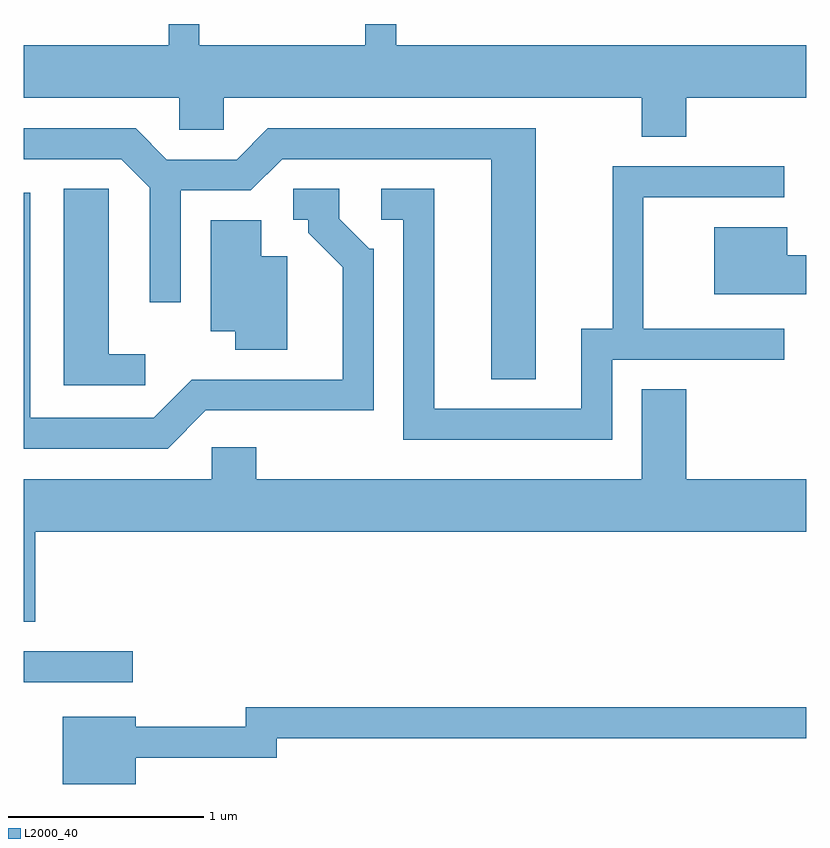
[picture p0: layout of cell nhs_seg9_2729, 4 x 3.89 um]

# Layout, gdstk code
import gdstk
lib = gdstk.Library(unit=1e-6, precision=1e-09)
def R(c, l, rs):  # rectangles x0, y0, x1, y1
    for r in rs: c.add(gdstk.rectangle(r[:2], r[2:], *l))
def P(c, l, *ps):  # polygons
    for p in ps: c.add(gdstk.Polygon(p, *l))
L2000_40 = (2000, 40)

nhs_seg9_2729 = lib.new_cell('nhs_seg9_2729')
R(nhs_seg9_2729, L2000_40, [(265.611,1971.066,266.168,1971.224)])
P(nhs_seg9_2729, L2000_40, [(268.999,1974.056),(269.611,1974.056),(269.611,1974.324),(267.514,1974.324),(267.514,1974.432),(267.356,1974.432),(267.356,1974.324),(266.509,1974.324),(266.509,1974.432),(266.351,1974.432),(266.351,1974.324),(265.611,1974.324),(265.611,1974.056),(266.406,1974.056),(266.406,1973.891),(266.634,1973.891),(266.634,1974.056),(268.771,1974.056),(268.771,1973.856),(268.999,1973.856)],
  [(268.229,1973.899),(266.859,1973.899),(266.699,1973.739),(266.342,1973.739),(266.182,1973.899),(265.611,1973.899),(265.611,1973.741),(266.109,1973.741),(266.256,1973.594),(266.256,1973.008),(266.414,1973.008),(266.414,1973.581),(266.772,1973.581),(266.932,1973.741),(268.001,1973.741),(268.001,1972.616),(268.229,1972.616)],
  [(268.619,1972.716),(269.498,1972.716),(269.498,1972.874),(268.779,1972.874),(268.779,1973.546),(269.498,1973.546),(269.498,1973.704),(268.621,1973.704),(268.621,1972.874),(268.461,1972.874),(268.461,1972.464),(267.709,1972.464),(267.709,1973.589),(267.438,1973.589),(267.438,1973.431),(267.551,1973.431),(267.551,1972.306),(268.619,1972.306)],
  [(266.233,1972.744),(266.044,1972.744),(266.044,1973.589),(265.816,1973.589),(265.816,1972.586),(266.233,1972.586)],
  [(266.542,1972.456),(267.399,1972.456),(267.399,1973.284),(267.377,1973.284),(267.224,1973.437),(267.224,1973.589),(266.988,1973.589),(266.988,1973.431),(267.066,1973.431),(267.066,1973.364),(267.241,1973.189),(267.241,1972.614),(266.469,1972.614),(266.274,1972.419),(265.644,1972.419),(265.644,1973.569),(265.611,1973.569),(265.611,1972.261),(266.347,1972.261)],
  [(266.959,1973.244),(266.824,1973.244),(266.824,1973.429),(266.566,1973.429),(266.566,1972.861),(266.691,1972.861),(266.691,1972.766),(266.959,1972.766)],
  [(269.611,1973.249),(269.514,1973.249),(269.514,1973.394),(269.141,1973.394),(269.141,1973.051),(269.611,1973.051)],
  [(265.669,1971.836),(269.611,1971.836),(269.611,1972.104),(268.999,1972.104),(268.999,1972.564),(268.771,1972.564),(268.771,1972.104),(266.799,1972.104),(266.799,1972.269),(266.571,1972.269),(266.571,1972.104),(265.611,1972.104),(265.611,1971.376),(265.669,1971.376)],
  [(266.184,1970.681),(266.904,1970.681),(266.904,1970.781),(269.611,1970.781),(269.611,1970.939),(266.746,1970.939),(266.746,1970.839),(266.184,1970.839),(266.184,1970.889),(265.811,1970.889),(265.811,1970.546),(266.184,1970.546)])

lib.write_gds('nhs_seg9_2729.gds')
